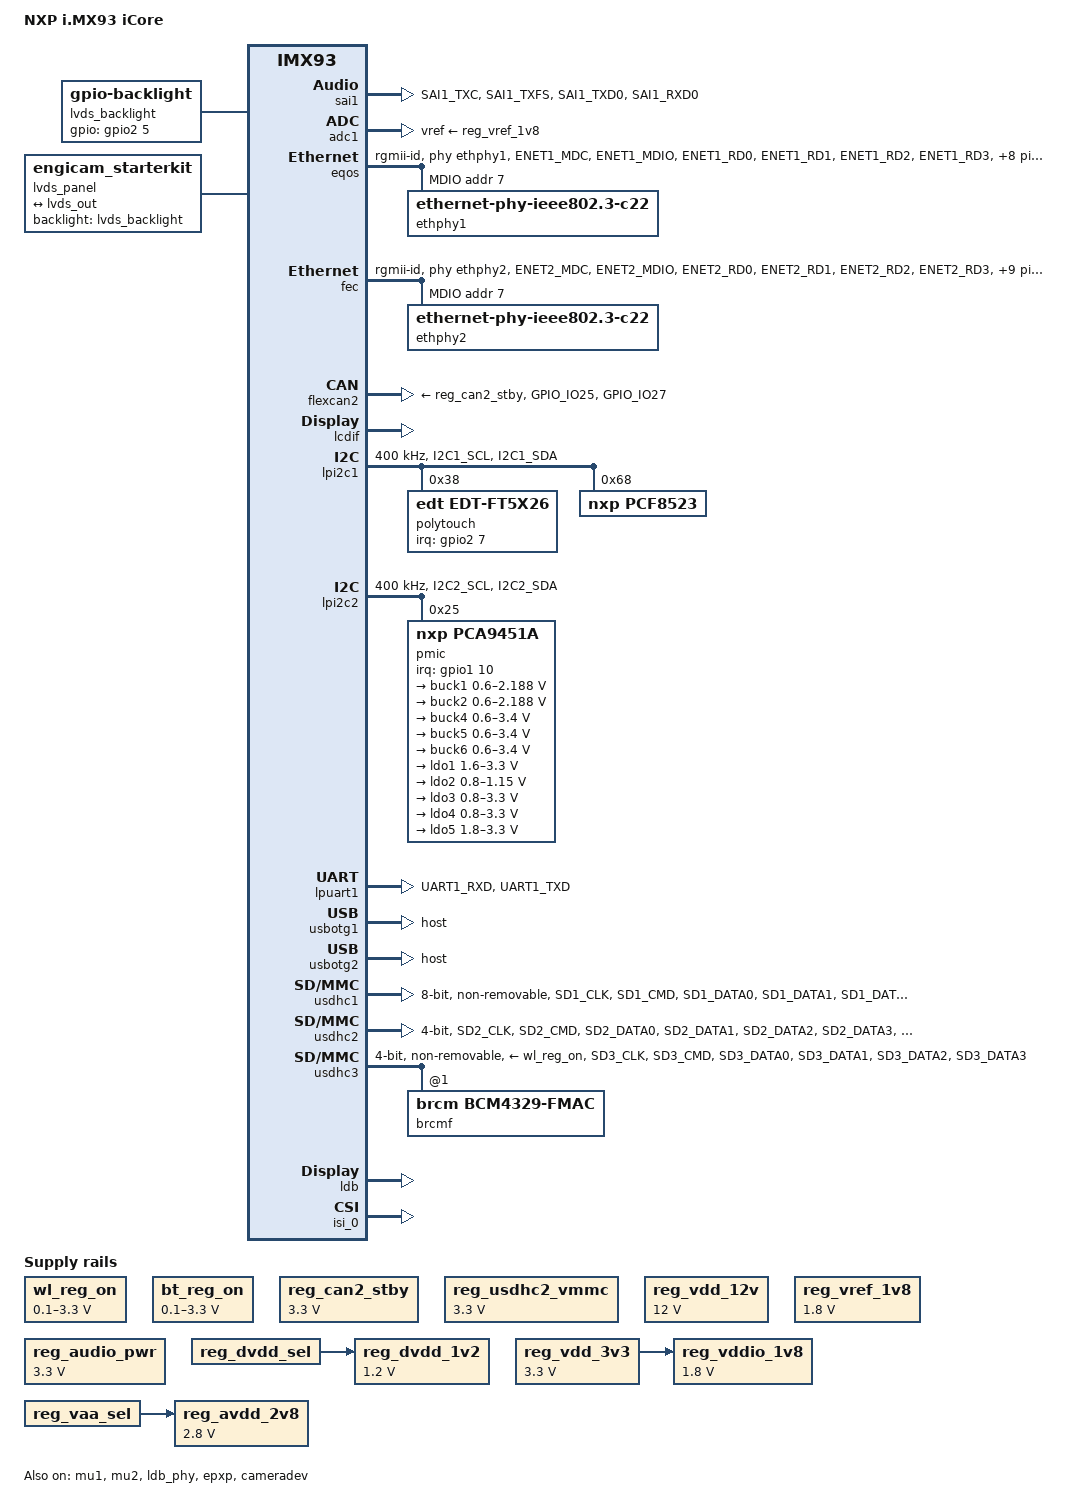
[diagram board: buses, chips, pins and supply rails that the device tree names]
// SPDX-License-Identifier: (GPL-2.0+ OR MIT)
/*
 * Copyright 2022 NXP
 */

/dts-v1/;

#include <dt-bindings/usb/pd.h>
#include "../freescale/imx93.dtsi"

/ {
	model = "NXP i.MX93 iCore";
	compatible = "fsl,imx93";

	lvds_backlight: lvds_backlight {
		compatible = "gpio-backlight";
        gpios = <&gpio2 5 GPIO_ACTIVE_HIGH>;
        default-on;
		status = "okay";
		//MX93_PAD_GPIO_IO05__GPIO2_IO05
	};

	lvds_panel {
		compatible = "engicam_starterkit";
		backlight = <&lvds_backlight>;

		port {
			panel_lvds_in: endpoint {
				remote-endpoint = <&lvds_out>;
			};
		};
	};
	
	chosen {
		stdout-path = &lpuart1;
	};

	reserved-memory {
		#address-cells = <2>;
		#size-cells = <2>;
		ranges;

		linux,cma {
			compatible = "shared-dma-pool";
			reusable;
			alloc-ranges = <0 0x80000000 0 0x40000000>;
			size = <0 0x10000000>;
			linux,cma-default;
		};

		ethosu_mem: ethosu_region@C0000000 {
			compatible = "shared-dma-pool";
			reusable;
			reg = <0x0 0xC0000000 0x0 0x10000000>;
		};

		vdev0vring0: vdev0vring0@a4000000 {
			reg = <0 0xa4000000 0 0x8000>;
			no-map;
		};

		vdev0vring1: vdev0vring1@a4008000 {
			reg = <0 0xa4008000 0 0x8000>;
			no-map;
		};

		vdev1vring0: vdev1vring0@a4000000 {
			reg = <0 0xa4010000 0 0x8000>;
			no-map;
		};

		vdev1vring1: vdev1vring1@a4018000 {
			reg = <0 0xa4018000 0 0x8000>;
			no-map;
		};

		rsc_table: rsc_table@2021f000 {
			reg = <0 0x2021f000 0 0x1000>;
			no-map;
		};

		vdevbuffer: vdevbuffer@a4020000 {
			compatible = "shared-dma-pool";
			reg = <0 0xa4020000 0 0x100000>;
			no-map;
		};
	};

	cm33: imx93-cm33 {
		compatible = "fsl,imx93-cm33";
		mbox-names = "tx", "rx", "rxdb";
		mboxes = <&mu1 0 1
			  &mu1 1 1
			  &mu1 3 1>;
		memory-region = <&vdevbuffer>, <&vdev0vring0>, <&vdev0vring1>,
				<&vdev1vring0>, <&vdev1vring1>, <&rsc_table>;
		fsl,startup-delay-ms = <500>;
	};

	ethosu {
		compatible = "arm,ethosu";
		fsl,cm33-proc = <&cm33>;
		memory-region = <&ethosu_mem>;
		power-domains = <&mlmix>;
	};

	wl_reg_on: regulator-wlregon {
		compatible = "regulator-gpio";
		pinctrl-names = "default";
		pinctrl-0 = <&pinctrl_wl_regon>;
		regulator-name = "WL_REG_ON";
		regulator-min-microvolt = <100000>;
		regulator-max-microvolt = <3300000>;
		states = <3300000 0x1>,
				 <100000 0x0>;		
		gpios = <&gpio2 22 GPIO_ACTIVE_HIGH>;
		regulator-always-on;
	};
	
	bt_reg_on: regulator-btregon {
		compatible = "regulator-gpio";
		regulator-name = "BT_REG_ON";
		pinctrl-names = "default";
		pinctrl-0 = <&pinctrl_bt_regon>;
		regulator-min-microvolt = <100000>;
		regulator-max-microvolt = <3300000>;
		states = <3300000 0x1>,
				 <100000 0x0>;
		gpios = <&gpio2 19 GPIO_ACTIVE_HIGH>;
		regulator-always-on;
	};	
	
	reg_can2_stby: regulator-can2-stby {
		compatible = "regulator-fixed";
		regulator-name = "can2-stby";
		regulator-min-microvolt = <3300000>;
		regulator-max-microvolt = <3300000>;		
		enable-active-low;
	};

	reg_usdhc2_vmmc: regulator-usdhc2 {
		compatible = "regulator-fixed";
		regulator-name = "VSD_3V3";
		regulator-min-microvolt = <3300000>;
		regulator-max-microvolt = <3300000>;
	};

	reg_vdd_12v: regulator-vdd-12v {
		compatible = "regulator-fixed";
		regulator-name = "reg_vdd_12v";
		regulator-min-microvolt = <12000000>;
		regulator-max-microvolt = <12000000>;
		enable-active-high;
	};

	reg_vref_1v8: regulator-adc-vref {
		compatible = "regulator-fixed";
		regulator-name = "vref_1v8";
		regulator-min-microvolt = <1800000>;
		regulator-max-microvolt = <1800000>;
	};

	usdhc3_pwrseq: usdhc3_pwrseq {
		compatible = "mmc-pwrseq-simple";
	};

	reg_audio_pwr: regulator-audio-pwr {
		compatible = "regulator-fixed";
		regulator-name = "audio-pwr";
		regulator-min-microvolt = <3300000>;
		regulator-max-microvolt = <3300000>;
		enable-active-high;
		regulator-always-on;
	};

	reg_dvdd_sel: regulator-dvdd_sel {
		compatible = "regulator-fixed";
		regulator-name = "DVDD_SEL";
		enable-active-high;
		startup-delay-us = <2000>;
	};

	reg_dvdd_1v2: regulator-dvdd {
		compatible = "regulator-fixed";
		regulator-name = "DVDD_1V2";
		regulator-min-microvolt = <1200000>;
		regulator-max-microvolt = <1200000>;
		enable-active-high;
		vin-supply = <&reg_dvdd_sel>;
	};

	reg_vdd_3v3: regulator-vdd {
		compatible = "regulator-fixed";
		regulator-name = "VDD_3V3";
		regulator-min-microvolt = <3300000>;
		regulator-max-microvolt = <3300000>;
		startup-delay-us = <4000>;
		enable-active-high;
	};

	reg_vddio_1v8: regulator-vddo {
		compatible = "regulator-fixed";
		regulator-name = "VDDIO_1V8";
		regulator-min-microvolt = <1800000>;
		regulator-max-microvolt = <1800000>;
		startup-delay-us = <4000>;
		enable-active-high;
		vin-supply = <&reg_vdd_3v3>;
	};

	reg_vaa_sel: regulator-vaa_sel {
		compatible = "regulator-fixed";
		regulator-name = "VAA_SEL";
		enable-active-high;
	};

	reg_avdd_2v8: regulator-avdd {
		compatible = "regulator-fixed";
		regulator-name = "AVDD_2V8";
		regulator-min-microvolt = <2800000>;
		regulator-max-microvolt = <2800000>;
		enable-active-high;
		vin-supply = <&reg_vaa_sel>;
	};
};

&sai1 {
	#sound-dai-cells = <0>;
	pinctrl-names = "default";
	pinctrl-0 = <&pinctrl_sai1>;
	assigned-clocks = <&clk IMX93_CLK_SAI1>;
	assigned-clock-parents = <&clk IMX93_CLK_AUDIO_PLL>;
	assigned-clock-rates = <12288000>;
	status = "okay";
};

&adc1 {
	vref-supply = <&reg_vref_1v8>;
	status = "okay";
};

&eqos {
	pinctrl-names = "default";
	pinctrl-0 = <&pinctrl_eqos>;
	phy-mode = "rgmii-id";
	phy-handle = <&ethphy1>;
	status = "okay";

	mdio {
		compatible = "snps,dwmac-mdio";
		#address-cells = <1>;
		#size-cells = <0>;

		ethphy1: ethernet-phy@7 {
			compatible = "ethernet-phy-ieee802.3-c22";
			reg = <7>;
		};
	};
};

&fec {
	pinctrl-names = "default";
	pinctrl-0 = <&pinctrl_fec>;
	phy-mode = "rgmii-id";
	phy-handle = <&ethphy2>;
	fsl,magic-packet;
	status = "okay";

	mdio {
		#address-cells = <1>;
		#size-cells = <0>;

		ethphy2: ethernet-phy@7 {
			compatible = "ethernet-phy-ieee802.3-c22";
			reg = <7>;
		};
	};
};

&flexcan2 {
	pinctrl-names = "default";
	pinctrl-0 = <&pinctrl_flexcan2>;
	xceiver-supply = <&reg_can2_stby>;
	status = "okay";
};

&lcdif {
	status = "okay";
	assigned-clock-rates = <498000000>, <71142857>, <400000000>, <133333333>;
};

/*
 * When add, delete or change any target device setting in &lpi2c1,
 * please synchronize the changes to the &i3c1 bus in imx93-11x11-evk-i3c.dts.
 */
&lpi2c1 {
	#address-cells = <1>;
	#size-cells = <0>;
	clock-frequency = <400000>;
	pinctrl-names = "default", "sleep";
	pinctrl-0 = <&pinctrl_lpi2c1>;
	pinctrl-1 = <&pinctrl_lpi2c1>;
	status = "okay";
	
	polytouch: edt-ft5x26@38 {
		compatible = "edt,edt-ft5x26";
		reg = <0x38>;
		pinctrl-names = "default";
		pinctrl-0 = <&edt_ft5x06_pins>;
		interrupt-parent = <&gpio2>;
		interrupts = <7 IRQ_TYPE_EDGE_FALLING>;
	};

	pcf8523: rtc@68 {
		compatible = "nxp,pcf8523";
		reg = <0x68>;
	};
};

&lpi2c2 {
	#address-cells = <1>;
	#size-cells = <0>;
	clock-frequency = <400000>;
	pinctrl-names = "default", "sleep";
	pinctrl-0 = <&pinctrl_lpi2c2>;
	pinctrl-1 = <&pinctrl_lpi2c2>;
	status = "okay";

	pmic@25 {
		compatible = "nxp,pca9451a";
		reg = <0x25>;
		
		
		interrupt-parent = <&gpio1>;
		interrupts = <10 IRQ_TYPE_LEVEL_LOW>;

		regulators {
			buck1: BUCK1 {
				regulator-name = "BUCK1";
				regulator-min-microvolt = <600000>;
				regulator-max-microvolt = <2187500>;
				regulator-boot-on;
				regulator-always-on;
				regulator-ramp-delay = <3125>;
			};

			buck2: BUCK2 {
				regulator-name = "BUCK2";
				regulator-min-microvolt = <600000>;
				regulator-max-microvolt = <2187500>;
				regulator-boot-on;
				regulator-always-on;
				regulator-ramp-delay = <3125>;
			};

			buck4: BUCK4{
				regulator-name = "BUCK4";
				regulator-min-microvolt = <600000>;
				regulator-max-microvolt = <3400000>;
				regulator-boot-on;
				regulator-always-on;
			};

			buck5: BUCK5{
				regulator-name = "BUCK5";
				regulator-min-microvolt = <600000>;
				regulator-max-microvolt = <3400000>;
				regulator-boot-on;
				regulator-always-on;
			};

			buck6: BUCK6 {
				regulator-name = "BUCK6";
				regulator-min-microvolt = <600000>;
				regulator-max-microvolt = <3400000>;
				regulator-boot-on;
				regulator-always-on;
			};

			ldo1: LDO1 {
				regulator-name = "LDO1";
				regulator-min-microvolt = <1600000>;
				regulator-max-microvolt = <3300000>;
				regulator-boot-on;
				regulator-always-on;
			};

			ldo2: LDO2 {
				regulator-name = "LDO2";
				regulator-min-microvolt = <800000>;
				regulator-max-microvolt = <1150000>;
				regulator-boot-on;
				regulator-always-on;
			};

			ldo3: LDO3 {
				regulator-name = "LDO3";
				regulator-min-microvolt = <800000>;
				regulator-max-microvolt = <3300000>;
				regulator-boot-on;
				regulator-always-on;
			};

			ldo4: LDO4 {
				regulator-name = "LDO4";
				regulator-min-microvolt = <800000>;
				regulator-max-microvolt = <3300000>;
				regulator-boot-on;
				regulator-always-on;
			};

			ldo5: LDO5 {
				regulator-name = "LDO5";
				regulator-min-microvolt = <1800000>;
				regulator-max-microvolt = <3300000>;
				regulator-boot-on;
				regulator-always-on;
			};
		};
	};
};

&lpuart1 { /* console */
	pinctrl-names = "default";
	pinctrl-0 = <&pinctrl_uart1>;
	status = "okay";
};

&mu1 {
	status = "okay";
};

&mu2 {
	status = "okay";
};

&usbotg1 {
	dr_mode = "host";
	status = "okay";
};

&usbotg2 {
	dr_mode = "host";
	status = "okay";
};

&usdhc1 {
	pinctrl-names = "default", "state_100mhz", "state_200mhz";
	pinctrl-0 = <&pinctrl_usdhc1>;
	pinctrl-1 = <&pinctrl_usdhc1>;
	pinctrl-2 = <&pinctrl_usdhc1>;
	bus-width = <8>;
	non-removable;
	status = "okay";
};

&usdhc2 {
	pinctrl-names = "default", "state_100mhz", "state_200mhz";
	pinctrl-0 = <&pinctrl_usdhc2>, <&pinctrl_usdhc2_gpio>;
	pinctrl-1 = <&pinctrl_usdhc2>, <&pinctrl_usdhc2_gpio>;
	pinctrl-2 = <&pinctrl_usdhc2>, <&pinctrl_usdhc2_gpio>;
	cd-gpios = <&gpio3 00 GPIO_ACTIVE_LOW>;
	bus-width = <4>;
	status = "okay";
};

&usdhc3 {
	pinctrl-names = "default", "state_100mhz", "state_200mhz";
	pinctrl-0 = <&pinctrl_usdhc3>;
	pinctrl-1 = <&pinctrl_usdhc3>;
	pinctrl-2 = <&pinctrl_usdhc3>;
	vmmc-supply = <&wl_reg_on>;
	bus-width = <4>;
	no-1-8-v;
	non-removable;
	status = "okay";
	
	#address-cells = <1>;
	#size-cells = <0>;
	
	brcmf: bcrmf@1 {
		reg = <1>;
		compatible = "brcm,bcm4329-fmac";
	};
};

&ldb {
	status = "okay";

	lvds-channel@0 {
		status = "okay";

		port@1 {
			reg = <1>;

			lvds_out: endpoint {
				remote-endpoint = <&panel_lvds_in>;
			};
		};
	};
};

&ldb_phy {
	status = "okay";
};

&iomuxc {
	pinctrl_fec: fecgrp {
		fsl,pins = <
			MX93_PAD_ENET2_MDC__ENET1_MDC                   0x57e
			MX93_PAD_ENET2_MDIO__ENET1_MDIO                 0x57e
			MX93_PAD_ENET2_RD0__ENET1_RGMII_RD0             0x57e
			MX93_PAD_ENET2_RD1__ENET1_RGMII_RD1             0x57e
			MX93_PAD_ENET2_RD2__ENET1_RGMII_RD2             0x57e
			MX93_PAD_ENET2_RD3__ENET1_RGMII_RD3             0x57e
			MX93_PAD_ENET2_RXC__ENET1_RGMII_RXC             0x5fe
			MX93_PAD_ENET2_RX_CTL__ENET1_RGMII_RX_CTL       0x57e
			MX93_PAD_ENET2_TD0__ENET1_RGMII_TD0             0x57e
			MX93_PAD_ENET2_TD1__ENET1_RGMII_TD1             0x57e
			MX93_PAD_ENET2_TD2__ENET1_RGMII_TD2             0x57e
			MX93_PAD_ENET2_TD3__ENET1_RGMII_TD3             0x57e
			MX93_PAD_ENET2_TXC__ENET1_RGMII_TXC             0x5fe
			MX93_PAD_ENET2_TX_CTL__ENET1_RGMII_TX_CTL       0x57e
			
			MX93_PAD_GPIO_IO05__GPIO2_IO05					0x57e // backlight
		>;
	};

	pinctrl_eqos: eqosgrp {
		fsl,pins = <
			MX93_PAD_ENET1_MDC__ENET_QOS_MDC                        0x53e
			MX93_PAD_ENET1_MDIO__ENET_QOS_MDIO                      0x53e
			MX93_PAD_ENET1_RD0__ENET_QOS_RGMII_RD0                  0x53e
			MX93_PAD_ENET1_RD1__ENET_QOS_RGMII_RD1                  0x53e
			MX93_PAD_ENET1_RD2__ENET_QOS_RGMII_RD2                  0x53e
			MX93_PAD_ENET1_RD3__ENET_QOS_RGMII_RD3                  0x53e
			MX93_PAD_ENET1_RXC__CCM_ENET_QOS_CLOCK_GENERATE_RX_CLK  0x53e
			MX93_PAD_ENET1_RX_CTL__ENET_QOS_RGMII_RX_CTL            0x53e
			MX93_PAD_ENET1_TD0__ENET_QOS_RGMII_TD0                  0x53e
			MX93_PAD_ENET1_TD1__ENET_QOS_RGMII_TD1                  0x53e
			MX93_PAD_ENET1_TD2__ENET_QOS_RGMII_TD2                  0x53e
			MX93_PAD_ENET1_TD3__ENET_QOS_RGMII_TD3                  0x53e
			MX93_PAD_ENET1_TXC__CCM_ENET_QOS_CLOCK_GENERATE_TX_CLK  0x53e
			MX93_PAD_ENET1_TX_CTL__ENET_QOS_RGMII_TX_CTL            0x53e
		>;
	};


	edt_ft5x06_pins: edt-ft5x06-pins-grp{
		fsl,pins = <
			MX93_PAD_GPIO_IO07__GPIO2_IO07	0x31e	/* INT */
		>;
	};	
	
	pinctrl_flexcan2: flexcan2grp {
		fsl,pins = <
			MX93_PAD_GPIO_IO25__CAN2_TX	0x139e
			MX93_PAD_GPIO_IO27__CAN2_RX	0x139e
		>;
	};

	pinctrl_lpi2c1: lpi2c1grp {
		fsl,pins = <
			MX93_PAD_I2C1_SCL__LPI2C1_SCL			0x40000b9e
			MX93_PAD_I2C1_SDA__LPI2C1_SDA			0x40000b9e
		>;
	};

	pinctrl_lpi2c2: lpi2c2grp {
		fsl,pins = <
			MX93_PAD_I2C2_SCL__LPI2C2_SCL			0x40000b9e
			MX93_PAD_I2C2_SDA__LPI2C2_SDA			0x40000b9e
		>;
	};

	pinctrl_uart1: uart1grp {
		fsl,pins = <
			MX93_PAD_UART1_RXD__LPUART1_RX			0x31e
			MX93_PAD_UART1_TXD__LPUART1_TX			0x31e
		>;
	};

	pinctrl_uart5: uart5grp {
		fsl,pins = <
			MX93_PAD_DAP_TDO_TRACESWO__LPUART5_TX	0x31e
			MX93_PAD_DAP_TDI__LPUART5_RX		0x31e
			MX93_PAD_DAP_TMS_SWDIO__LPUART5_RTS_B	0x31e
			MX93_PAD_DAP_TCLK_SWCLK__LPUART5_CTS_B	0x31e
		>;
	};

	pinctrl_usdhc1: usdhc1grp {
		fsl,pins = <
			MX93_PAD_SD1_CLK__USDHC1_CLK		0x15fe
			MX93_PAD_SD1_CMD__USDHC1_CMD		0x13fe
			MX93_PAD_SD1_DATA0__USDHC1_DATA0	0x13fe
			MX93_PAD_SD1_DATA1__USDHC1_DATA1	0x13fe
			MX93_PAD_SD1_DATA2__USDHC1_DATA2	0x13fe
			MX93_PAD_SD1_DATA3__USDHC1_DATA3	0x13fe
			MX93_PAD_SD1_DATA4__USDHC1_DATA4	0x13fe
			MX93_PAD_SD1_DATA5__USDHC1_DATA5	0x13fe
			MX93_PAD_SD1_DATA6__USDHC1_DATA6	0x13fe
			MX93_PAD_SD1_DATA7__USDHC1_DATA7	0x13fe
			MX93_PAD_SD1_STROBE__USDHC1_STROBE	0x15fe
		>;
	};

	pinctrl_usdhc2_gpio: usdhc2gpiogrp {
		fsl,pins = <
			MX93_PAD_SD2_CD_B__GPIO3_IO00		0x31e
		>;
	};

	pinctrl_usdhc2: usdhc2grp {
		fsl,pins = <
			MX93_PAD_SD2_CLK__USDHC2_CLK			0x170e
			MX93_PAD_SD2_CMD__USDHC2_CMD			0x130e
			MX93_PAD_SD2_DATA0__USDHC2_DATA0		0x130e
			MX93_PAD_SD2_DATA1__USDHC2_DATA1        0x130e
			MX93_PAD_SD2_DATA2__USDHC2_DATA2        0x130e
			MX93_PAD_SD2_DATA3__USDHC2_DATA3        0x130e
			MX93_PAD_SD2_VSELECT__USDHC2_VSELECT	0x51e
		>;
	};

	pinctrl_usdhc3: usdhc3grp {
		fsl,pins = <
			MX93_PAD_SD3_CLK__USDHC3_CLK			0x17fe
			MX93_PAD_SD3_CMD__USDHC3_CMD			0x13fe
			MX93_PAD_SD3_DATA0__USDHC3_DATA0		0x13fe
			MX93_PAD_SD3_DATA1__USDHC3_DATA1        0x13fe
			MX93_PAD_SD3_DATA2__USDHC3_DATA2        0x13fe
			MX93_PAD_SD3_DATA3__USDHC3_DATA3        0x13fe
		>;
	};
	
	pinctrl_wl_regon: wlregon	{
		fsl,pins = <
			MX93_PAD_GPIO_IO22__GPIO2_IO22			0x31e //WL_REG_ON
		>;			
	};

	pinctrl_bt_regon: btregon	{
		fsl,pins = <	
			MX93_PAD_GPIO_IO19__GPIO2_IO19			0x31e //BT_REG_ON
		>;			
	};	
	
	pinctrl_sai1: sai1grp {
		fsl,pins = <
			MX93_PAD_SAI1_TXC__SAI1_TX_BCLK			0x31e
			MX93_PAD_SAI1_TXFS__SAI1_TX_SYNC		0x31e
			MX93_PAD_SAI1_TXD0__SAI1_TX_DATA00		0x31e
			MX93_PAD_SAI1_RXD0__SAI1_RX_DATA00		0x31e
		>;
	};

	pinctrl_pdm: pdmgrp {
		fsl,pins = <
			MX93_PAD_PDM_CLK__PDM_CLK			0x31e
			MX93_PAD_PDM_BIT_STREAM0__PDM_BIT_STREAM00	0x31e
			MX93_PAD_PDM_BIT_STREAM1__PDM_BIT_STREAM01	0x31e
		>;
	};
};

&epxp {
	status = "okay";
};

&cameradev {
	status = "okay";
};

&isi_0 {
	status = "okay";

	cap_device {
		status = "okay";
	};
};
